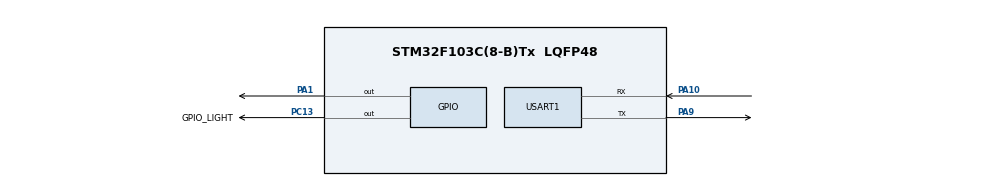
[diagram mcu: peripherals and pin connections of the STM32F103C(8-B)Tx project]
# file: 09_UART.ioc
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Mcu.Family=STM32F1
Mcu.Name=STM32F103C(8-B)Tx
Mcu.Package=LQFP48
NVIC.PriorityGroup=NVIC_PRIORITYGROUP_4
NVIC.USART1_IRQn=true\:0\:0\:false\:false\:true\:true\:true\:true
PA1.PinState=GPIO_PIN_SET
PA1.Signal=GPIO_Output
PA10.Mode=Asynchronous
PA10.Signal=USART1_RX
PA13.Mode=Serial_Wire
PA13.Signal=SYS_JTMS-SWDIO
PA14.Mode=Serial_Wire
PA14.Signal=SYS_JTCK-SWCLK
PA9.Mode=Asynchronous
PA9.Signal=USART1_TX
PC13-TAMPER-RTC.GPIO_Label=GPIO_LIGHT
PC13-TAMPER-RTC.PinState=GPIO_PIN_SET
PC13-TAMPER-RTC.Signal=GPIO_Output
ProjectManager.HeapSize=0x200
ProjectManager.StackSize=0x400
ProjectManager.TargetToolchain=CMake
RCC.APB1Freq_Value=8000000
RCC.APB2Freq_Value=8000000
USART1.VirtualMode=VM_ASYNC
board=custom

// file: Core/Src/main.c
/* USER CODE BEGIN Header */
/**
  ******************************************************************************
  * @file           : main.c
  * @brief          : Main program body
  ******************************************************************************
  * @attention
  *
  * Copyright (c) 2026 STMicroelectronics.
  * All rights reserved.
  *
  * This software is licensed under terms that can be found in the LICENSE file
  * in the root directory of this software component.
  * If no LICENSE file comes with this software, it is provided AS-IS.
  *
  ******************************************************************************
  */
/* USER CODE END Header */
#include "main.h"
#include "stdio.h"

UART_HandleTypeDef huart1;

void SystemClock_Config(void);
static void MX_GPIO_Init(void);
static void MX_USART1_UART_Init(void);

/* USER CODE BEGIN 0 */
uint8_t rx;  //让回调函数也能使用这玩意......
/* USER CODE END 0 */

int main(void)
{

  /* MCU Configuration--------------------------------------------------------*/

  /* Reset of all peripherals, Initializes the Flash interface and the Systick. */
   HAL_Init();

  /* Configure the system clock */
  SystemClock_Config();

  /* Initialize all configured peripherals */
  MX_GPIO_Init();
  MX_USART1_UART_Init();
  /* USER CODE BEGIN 2 */
  printf("I LOVE U\nHOLLOW WORLD\n");
  HAL_UART_Receive_IT(&huart1, &rx, 1);
  static uint32_t now = 0;  //vofa test
  /* USER CODE END 2 */

  /* Infinite loop */
  while (1)
  {

    /* USER CODE BEGIN 3 */
    if (HAL_GetTick() - now > 100) //依旧VOFA TEST
    {
      now = HAL_GetTick();
      uint8_t num = HAL_GPIO_ReadPin(GPIO_LIGHT_GPIO_Port, GPIO_LIGHT_Pin);
      printf("%d\n", num);
    }

  }
  /* USER CODE END 3 */
}

void SystemClock_Config(void)
{
  RCC_OscInitTypeDef RCC_OscInitStruct = {0};
  RCC_ClkInitTypeDef RCC_ClkInitStruct = {0};

  /** Initializes the RCC Oscillators according to the specified parameters
  * in the RCC_OscInitTypeDef structure.
  */
  RCC_OscInitStruct.OscillatorType = RCC_OSCILLATORTYPE_HSI;
  RCC_OscInitStruct.HSIState = RCC_HSI_ON;
  RCC_OscInitStruct.HSICalibrationValue = RCC_HSICALIBRATION_DEFAULT;
  RCC_OscInitStruct.PLL.PLLState = RCC_PLL_NONE;
  if (HAL_RCC_OscConfig(&RCC_OscInitStruct) != HAL_OK)
  {
    Error_Handler();
  }

  /** Initializes the CPU, AHB and APB buses clocks
  */
  RCC_ClkInitStruct.ClockType = RCC_CLOCKTYPE_HCLK|RCC_CLOCKTYPE_SYSCLK
                              |RCC_CLOCKTYPE_PCLK1|RCC_CLOCKTYPE_PCLK2;
  RCC_ClkInitStruct.SYSCLKSource = RCC_SYSCLKSOURCE_HSI;
  RCC_ClkInitStruct.AHBCLKDivider = RCC_SYSCLK_DIV1;
  RCC_ClkInitStruct.APB1CLKDivider = RCC_HCLK_DIV1;
  RCC_ClkInitStruct.APB2CLKDivider = RCC_HCLK_DIV1;

  if (HAL_RCC_ClockConfig(&RCC_ClkInitStruct, FLASH_LATENCY_0) != HAL_OK)
  {
    Error_Handler();
  }
}

static void MX_USART1_UART_Init(void)
{

  huart1.Instance = USART1;
  huart1.Init.BaudRate = 115200;
  huart1.Init.WordLength = UART_WORDLENGTH_8B;
  huart1.Init.StopBits = UART_STOPBITS_1;
  huart1.Init.Parity = UART_PARITY_NONE;
  huart1.Init.Mode = UART_MODE_TX_RX;
  huart1.Init.HwFlowCtl = UART_HWCONTROL_NONE;
  huart1.Init.OverSampling = UART_OVERSAMPLING_16;
  if (HAL_UART_Init(&huart1) != HAL_OK)
  {
    Error_Handler();
  }

}

static void MX_GPIO_Init(void)
{
  GPIO_InitTypeDef GPIO_InitStruct = {0};

  /* GPIO Ports Clock Enable */
  __HAL_RCC_GPIOC_CLK_ENABLE();
  __HAL_RCC_GPIOA_CLK_ENABLE();

  /*Configure GPIO pin Output Level */
  HAL_GPIO_WritePin(GPIO_LIGHT_GPIO_Port, GPIO_LIGHT_Pin, GPIO_PIN_SET);

  /*Configure GPIO pin Output Level */
  HAL_GPIO_WritePin(GPIOA, GPIO_PIN_1, GPIO_PIN_SET);

  /*Configure GPIO pin : GPIO_LIGHT_Pin */
  GPIO_InitStruct.Pin = GPIO_LIGHT_Pin;
  GPIO_InitStruct.Mode = GPIO_MODE_OUTPUT_PP;
  GPIO_InitStruct.Pull = GPIO_NOPULL;
  GPIO_InitStruct.Speed = GPIO_SPEED_FREQ_LOW;
  HAL_GPIO_Init(GPIO_LIGHT_GPIO_Port, &GPIO_InitStruct);

  /*Configure GPIO pin : PA1 */
  GPIO_InitStruct.Pin = GPIO_PIN_1;
  GPIO_InitStruct.Mode = GPIO_MODE_OUTPUT_PP;
  GPIO_InitStruct.Pull = GPIO_NOPULL;
  GPIO_InitStruct.Speed = GPIO_SPEED_FREQ_LOW;
  HAL_GPIO_Init(GPIOA, &GPIO_InitStruct);

}

/* USER CODE BEGIN 4 */
int _write(int fd, char *ptr, int len)
{
  HAL_UART_Transmit(&huart1, (uint8_t *)ptr, len, 0xFFFF);
  return len;
}

void HAL_UART_RxCpltCallback(UART_HandleTypeDef *huart)
{//  中断控制小灯亮灭

  if (huart->Instance == USART1)
  {
    {
      if (rx == '1')
      {
        HAL_GPIO_WritePin(GPIO_LIGHT_GPIO_Port, GPIO_LIGHT_Pin, GPIO_PIN_RESET);   //低电平
      }
      if (rx == '0')
      {
        HAL_GPIO_WritePin(GPIO_LIGHT_GPIO_Port, GPIO_LIGHT_Pin, GPIO_PIN_SET);  //高电平
      }
      HAL_UART_Receive_IT(&huart1, &rx, 1);  // 再次开启接收中断，中断里面已经复位了，需要重新拉起来，让后面可以继续接受信息
    }
  }
}
/* USER CODE END 4 */

void Error_Handler(void)
{
  __disable_irq();
  while (1)
  {
  }
}
